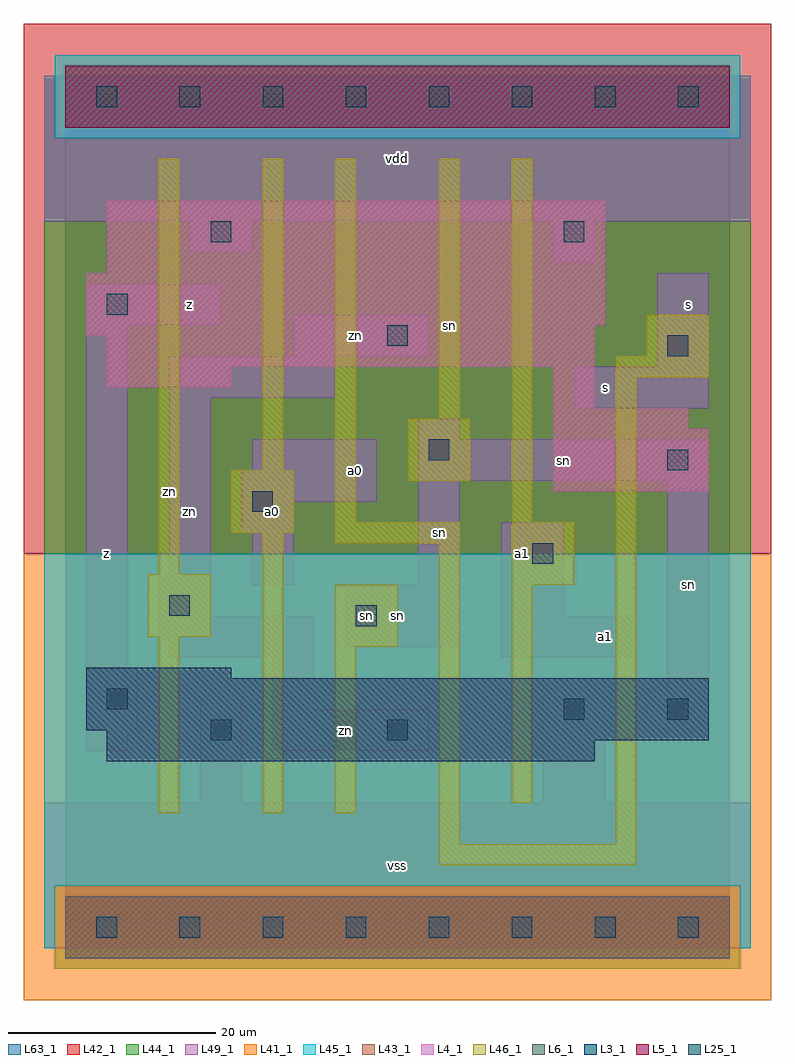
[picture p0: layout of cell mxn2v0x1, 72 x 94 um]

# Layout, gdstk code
import gdstk
lib = gdstk.Library(unit=1e-6, precision=1e-09)
def R(c, l, rs):  # rectangles x0, y0, x1, y1
    for r in rs: c.add(gdstk.rectangle(r[:2], r[2:], *l))
def A(c, l, x, y, w, h, nx, ny, dx, dy):  # array of equal rectangles
    R(c, l, [(x+i*dx, y+j*dy, x+i*dx+w, y+j*dy+h) for i in range(nx) for j in range(ny)])
L3_1 = (3, 1)
L4_1 = (4, 1)
L5_1 = (5, 1)
L6_1 = (6, 1)
L25_1 = (25, 1)
L41_1 = (41, 1)
L42_1 = (42, 1)
L43_1 = (43, 1)
L44_1 = (44, 1)
L45_1 = (45, 1)
L46_1 = (46, 1)
L49_1 = (49, 1)
L63_1 = (63, 1)

mxn2v0x1 = lib.new_cell('mxn2v0x1')
R(mxn2v0x1, L3_1, [(4,16,51,18), (4,18,62,19), (2,19,62,24), (2,24,16,25)])
R(mxn2v0x1, L4_1, [(47,42,62,48), (47,48,60,50), (47,50,51,54), (4,52,16,54), (4,54,51,57), (2,57,51,58), (2,58,52,63), (4,63,52,70)])
R(mxn2v0x1, L5_1, [(0,77,64,83)])
R(mxn2v0x1, L6_1, [(0,-3,64,3), (0,-3,64,3)])
A(mxn2v0x1, L25_1, 3, -1, 2, 2, 8, 2, 8, 80)
R(mxn2v0x1, L25_1, [(14,18,16,20), (31,18,33,20), (48,20,50,22), (58,20,60,22), (4,21,6,23), (28,29,30,31), (10,30,12,32), (45,35,47,37), (18,40,20,42), (58,44,60,46), (35,45,37,47), (58,55,60,57), (31,56,33,58), (4,59,6,61), (14,66,16,68), (48,66,50,68)])
R(mxn2v0x1, L41_1, [(-4,-7,68,36)])
R(mxn2v0x1, L42_1, [(-4,36,68,87)])
R(mxn2v0x1, L43_1, [(0,-3,64,3), (4,16,51,18), (4,18,62,19), (2,19,62,24), (2,24,16,25), (47,42,62,48), (47,48,60,50), (47,50,51,54), (4,52,16,54), (4,54,51,57), (2,57,51,58), (2,58,52,63), (4,63,52,70), (0,77,64,83)])
R(mxn2v0x1, L44_1, [(-1,-4,65,4), (-2,36,66,76), (-2,76,-1,82), (65,76,66,82)])
R(mxn2v0x1, L45_1, [(-2,-2,-1,4), (65,-2,66,4), (-2,4,66,36), (-1,76,65,84)])
R(mxn2v0x1, L46_1, [(36,6,55,8), (36,8,38,37), (53,8,55,53), (9,11,11,28), (19,11,21,38), (26,11,28,27), (43,12,45,33), (26,27,32,33), (8,28,14,34), (43,33,49,39), (9,34,11,74), (26,37,38,39), (16,38,22,44), (26,39,28,74), (43,39,45,74), (33,43,39,49), (19,44,21,74), (36,49,38,74), (53,53,62,55), (56,55,62,59)])
R(mxn2v0x1, L49_1, [(-2,-2,66,12), (13,12,17,22), (46,12,52,23), (2,17,6,19), (20,17,35,21), (2,19,7,25), (56,19,62,23), (20,21,24,26), (58,23,62,43), (2,25,6,58), (10,26,24,28), (42,26,55,30), (27,27,38,33), (9,28,24,30), (9,30,14,34), (42,30,48,39), (18,33,22,38), (34,33,38,43), (10,34,14,51), (17,38,22,41), (17,41,30,44), (34,43,62,47), (18,44,30,47), (34,47,38,49), (49,50,62,54), (10,51,26,55), (57,54,62,63), (22,55,35,59), (2,58,15,62), (47,64,51,68), (12,65,18,68), (-2,68,66,82)])
R(mxn2v0x1, L63_1, [(0,0,64,80)])
mxn2v0x1.add(gdstk.Label('zn', (10,42), layer=46, texttype=1))
mxn2v0x1.add(gdstk.Label('sn', (29,30), layer=49, texttype=1))
mxn2v0x1.add(gdstk.Label('sn', (37,58), layer=46, texttype=1))
mxn2v0x1.add(gdstk.Label('z', (4,36), layer=49, texttype=1))
mxn2v0x1.add(gdstk.Label('a0', (20,40), layer=49, texttype=1))
mxn2v0x1.add(gdstk.Label('zn', (12,40), layer=49, texttype=1))
mxn2v0x1.add(gdstk.Label('z', (12,60), layer=49, texttype=1))
mxn2v0x1.add(gdstk.Label('vss', (32,6), layer=49, texttype=1))
mxn2v0x1.add(gdstk.Label('zn', (27,19), layer=49, texttype=1))
mxn2v0x1.add(gdstk.Label('sn', (32,30), layer=49, texttype=1))
mxn2v0x1.add(gdstk.Label('a0', (28,44), layer=49, texttype=1))
mxn2v0x1.add(gdstk.Label('sn', (36,38), layer=49, texttype=1))
mxn2v0x1.add(gdstk.Label('zn', (28,57), layer=49, texttype=1))
mxn2v0x1.add(gdstk.Label('vdd', (32,74), layer=49, texttype=1))
mxn2v0x1.add(gdstk.Label('a1', (44,36), layer=49, texttype=1))
mxn2v0x1.add(gdstk.Label('a1', (52,28), layer=49, texttype=1))
mxn2v0x1.add(gdstk.Label('sn', (60,33), layer=49, texttype=1))
mxn2v0x1.add(gdstk.Label('sn', (48,45), layer=49, texttype=1))
mxn2v0x1.add(gdstk.Label('s', (52,52), layer=49, texttype=1))
mxn2v0x1.add(gdstk.Label('s', (60,60), layer=49, texttype=1))

lib.write_gds('mxn2v0x1.gds')
